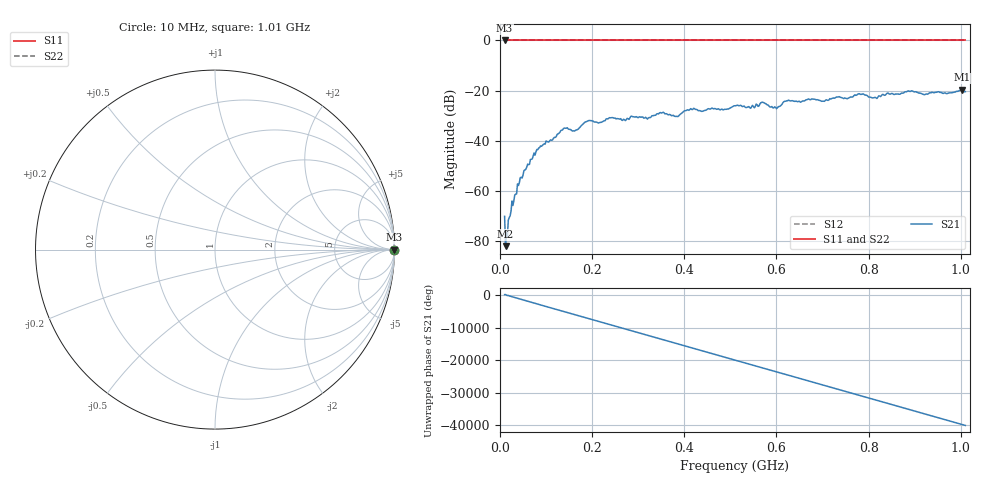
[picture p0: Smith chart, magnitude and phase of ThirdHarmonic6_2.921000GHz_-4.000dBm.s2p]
! 8/17/2025 8:07:41 AM
! C:\ANRITSUVNA\TEMP\TEMP.S2P
! CHANNEL.1
! TR.MEASUREMENT
! RAW.DATA
! RF.CORRECTION.OFF
! AVERAGING.OFF
! IF.BANDWIDTH: 5KHZ
! SWEEPTYPE:  FREQ.SWEEP(Linear)
! Reference Plane Port Info
! PORT:  PORT1  PORT2
! DISTANCE:  0  m  0  m
! TIME:  0  s  0  s
! PHASE.OFFSET:  0  deg.  0  deg.
! LOSS:  0  dB  0  dB
! REF.LOSS:  0  dB  0  dB
! REF.FREQ:  0  Hz  0  Hz
! Power Info
! POWER:  -20  dBm  -20  dBm
! EFF.POWER:  -20  dBm  -20  dBm
! SOURCE.ATTEN:  0  dB  0  dB
! TEST.ATTEN:  0  dB  0  dB
# GHZ S RI R 50.0
! FREQ.GHZ  S11RE  S11IM  S21RE  S21IM  S12RE  S12IM  S22RE  S22IM
!; PortSelection: Port_12
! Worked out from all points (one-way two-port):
!   501 points, 10 MHz to 1.01 GHz, reference 50 ohm
!   highest |S21| = -19.70 dB at 1.002 GHz (marker M1); lowest = -82.2 dB at 12 MHz (marker M2)
!   lowest |S11| = 0.0 dB at 10 MHz (marker M3)
!   |S11| at or under -10 dB: nowhere
!   |S22| runs from 0.0 to 0.0 dB; largest |S21 - S12| = 1.1
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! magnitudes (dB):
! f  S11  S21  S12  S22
! 10 MHz  0.0  -70.3  0.0  0.0
! 12 MHz  0.0  -82.2  0.0  0.0
! 16 MHz  0.0  -78.6  0.0  0.0
! 22 MHz  0.0  -70.1  0.0  0.0
! 42 MHz  0.0  -56.8  0.0  0.0
! 82 MHz  0.0  -43.6  0.0  0.0
! 136 MHz  0.0  -35.7  0.0  0.0
! 162 MHz  0.0  -36.2  0.0  0.0
! 178 MHz  0.0  -33.8  0.0  0.0
! 194 MHz  0.0  -32.0  0.0  0.0
! 322 MHz  0.0  -30.9  0.0  0.0
! 344 MHz  0.0  -29.3  0.0  0.0
! 384 MHz  0.0  -30.3  0.0  0.0
! 418 MHz  0.0  -27.6  0.0  0.0
! 510 MHz  0.0  -26.1  0.0  0.0
! 570 MHz  0.0  -24.7  0.0  0.0
! 598 MHz  0.0  -26.7  0.0  0.0
! 622 MHz  0.0  -24.1  0.0  0.0
! 678 MHz  0.0  -23.4  0.0  0.0
! 844 MHz  0.0  -21.3  0.0  0.0
! 1.002 GHz  0.0  -19.7  0.0  0.0
! 1.01 GHz  0.0  -20.4  0.0  0.0
